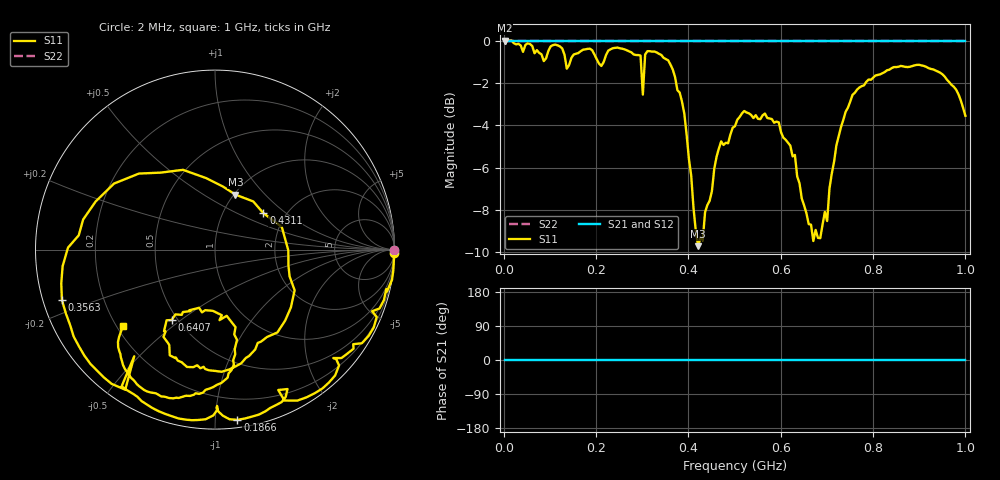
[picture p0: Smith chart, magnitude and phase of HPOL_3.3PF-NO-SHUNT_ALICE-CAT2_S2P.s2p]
!Agilent N9923A: A.07.32
!Date: Saturday, 22 February 2020 05:07:49
!Model: N9923A
!Serial: MY52412229
!GPS Latitude:
!GPS Longitude:
!GPS TimeStamp: 0001-01-01 00:00:00Z
!GPS Seconds Since Last Read: 0
!CHECKSUM:0895302007
!Correction: S11(ON U)S21()S12()S22()
!S2P File: Measurements:S11,S21,S12,S22:
# Hz S DB R 50
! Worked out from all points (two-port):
!   201 points, 2 MHz to 1 GHz, reference 50 ohm
!   highest |S21| = 0.00 dB at 2 MHz (marker M1); lowest = 0.0 dB at 2 MHz (marker M2)
!   |S21| within 3 dB of the highest: start of sweep to end of sweep
!   lowest |S11| = -9.7 dB at 421.2 MHz (marker M3), VSWR 1.97, Z = 50.8 + j34.9 ohm
!   |S11| at or under -10 dB: nowhere
!   |S22| runs from 0.0 to 0.0 dB; largest |S21 - S12| = 0
!   S11 on the Smith chart (normalised r, x): 2 MHz: open; 186.6 MHz: 0.05, -1.14; 356.3 MHz: 0.06, -0.16; 431.1 MHz: 1.54, +0.71; 640.7 MHz: 0.47, -0.46; 1 GHz: 0.23, -0.34
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2000000  -0.01 -1.1  0.00 0.0  0.00 0.0  0.00 0.0
6.188e7  -0.26 -32.5  0.00 0.0  0.00 0.0  0.00 0.0
1.7166e8  -0.43 -75.1  0.00 0.0  0.00 0.0  0.00 0.0
1.8663e8  -0.39 -82.5  0.00 0.0  0.00 0.0  0.00 0.0
2.5649e8  -0.39 -106.8  0.00 0.0  0.00 0.0  0.00 0.0
3.014e8  -2.55 -127.1  0.00 0.0  0.00 0.0  0.00 0.0
3.0639e8  -0.66 -122.6  0.00 0.0  0.00 0.0  0.00 0.0
3.3633e8  -0.63 -144.4  0.00 0.0  0.00 0.0  0.00 0.0
3.5629e8  -0.93 -161.8  0.00 0.0  0.00 0.0  0.00 0.0
3.8124e8  -2.46 167.2  0.00 0.0  0.00 0.0  0.00 0.0
3.9621e8  -4.45 135.0  0.00 0.0  0.00 0.0  0.00 0.0
4.2116e8  -9.71 69.5  0.00 0.0  0.00 0.0  0.00 0.0
4.3114e8  -9.44 36.9  0.00 0.0  0.00 0.0  0.00 0.0
4.5609e8  -6.05 -27.1  0.00 0.0  0.00 0.0  0.00 0.0
5.01e8  -4.04 -74.1  0.00 0.0  0.00 0.0  0.00 0.0
5.6587e8  -3.45 -103.4  0.00 0.0  0.00 0.0  0.00 0.0
6.4072e8  -6.74 -121.6  0.00 0.0  0.00 0.0  0.00 0.0
6.7066e8  -9.47 -105.3  0.00 0.0  0.00 0.0  0.00 0.0
7.1557e8  -5.72 -76.3  0.00 0.0  0.00 0.0  0.00 0.0
7.5549e8  -2.57 -87.3  0.00 0.0  0.00 0.0  0.00 0.0
8.3533e8  -1.38 -104.7  0.00 0.0  0.00 0.0  0.00 0.0
1e9  -3.55 -140.4  0.00 0.0  0.00 0.0  0.00 0.0
